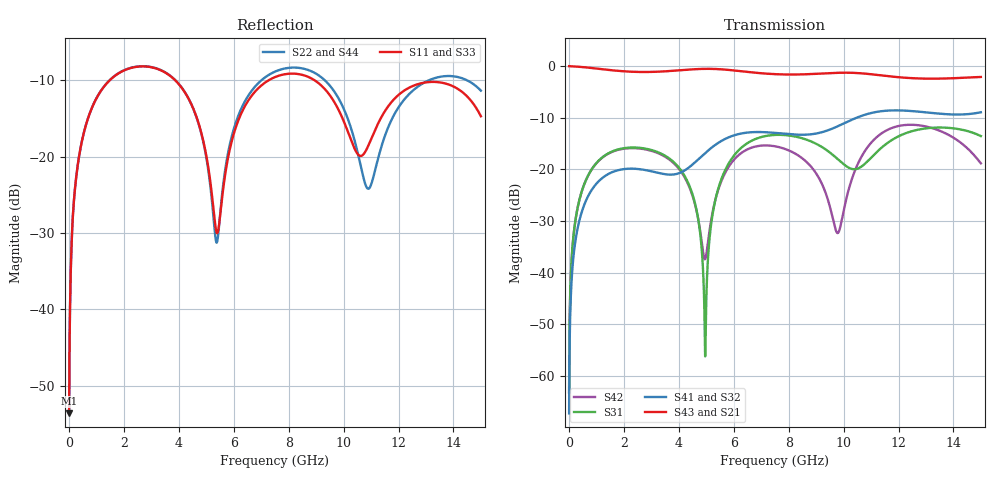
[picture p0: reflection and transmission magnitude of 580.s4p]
! Created with skrf 1.8.0 (http://scikit-rf.org).
# GHz S RI R 50.0
!freq ReS11 ImS11 ReS12 ImS12 ReS13 ImS13
! ReS14 ImS14
! ReS21 ImS21 ReS22 ImS22 ReS23 ImS23
! ReS24 ImS24
! ReS31 ImS31 ReS32 ImS32 ReS33 ImS33
! ReS34 ImS34
! ReS41 ImS41 ReS42 ImS42 ReS43 ImS43
! ReS44 ImS44
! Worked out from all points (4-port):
!   2499 points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, 5 MHz to 15 GHz, reference 50 ohm
!   strongest paths, dB at 5 MHz, 3.476 GHz, 7.19 GHz, 11.1 GHz, 15 GHz:
!     S43: 0.0, -1.0, -1.5, -1.6, -2.1
!     S21: 0.0, -1.0, -1.5, -1.6, -2.1
!     S41: -67.3, -20.9, -12.8, -9.0, -9.0
!     S32: -67.3, -21.0, -12.8, -9.0, -9.0
!     S31: -63.2, -17.3, -13.5, -17.2, -13.6
!     S42: -63.2, -17.5, -15.4, -14.3, -18.8
!   lowest |S11| = -53.6 dB at 5 MHz (marker M1), VSWR 1.00, Z = 50.2 + j0.127 ohm
!   |S11| at or under -10 dB: start of sweep to 1.479 GHz; 3.872 GHz to 7.265 GHz (3.393 GHz wide, 60.9 % of centre); 8.95 GHz to end of sweep
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0.005  0.00166 0.00126  0.9983 -0.00324  8.46e-05 0.000684  -8.2e-05 -0.000425
       0.9983 -0.00324  0.00166 0.00126  -8.2e-05 -0.000425  8.45e-05 0.000684
       8.46e-05 0.000684  -8.2e-05 -0.000425  0.00166 0.00126  0.9983 -0.00324
       -8.2e-05 -0.000425  8.45e-05 0.000684  0.9983 -0.00324  0.00166 0.00126
0.3126303  0.0247 0.0829  0.9662 -0.2015  0.0119 0.0405  -0.0097 -0.0249
           0.9662 -0.2015  0.0247 0.0829  -0.00969 -0.0249  0.0115 0.0406
           0.0119 0.0405  -0.00969 -0.0249  0.0247 0.0829  0.9662 -0.2015
           -0.0097 -0.0249  0.0115 0.0406  0.9662 -0.2015  0.0247 0.0829
1.519383  0.2671 0.1784  0.5531 -0.7268  0.1331 0.0619  -0.0923 -0.00671
          0.5531 -0.7268  0.2685 0.1775  -0.0922 -0.00684  0.1294 0.0669
          0.1331 0.0619  -0.0922 -0.00684  0.2672 0.1784  0.5532 -0.7268
          -0.0923 -0.00671  0.1294 0.0669  0.5532 -0.7268  0.2684 0.1775
4.958316  0.055 -0.097  -0.8878 -0.3098  -0.00149 -0.000409  -0.0421 0.1374
          -0.8878 -0.3098  0.0498 -0.0971  -0.0442 0.1367  -0.0134 -0.00184
          -0.00149 -0.000409  -0.0442 0.1367  0.0538 -0.096  -0.888 -0.3097
          -0.0421 0.1374  -0.0134 -0.00184  -0.888 -0.3097  0.0501 -0.0956
6.246353  0.1242 0.1403  -0.8046 0.3889  0.1326 0.088  0.1272 0.1815
          -0.8046 0.3889  0.1329 0.1511  0.1245 0.183  0.0837 0.1147
          0.1326 0.088  0.1245 0.183  0.1241 0.1422  -0.8045 0.3887
          0.1272 0.1815  0.0837 0.1147  -0.8045 0.3887  0.134 0.1513
10.75448  0.104 0.017  0.8333 0.1493  -0.0665 0.0899  0.0502 -0.3327
          0.8333 0.1493  0.0588 -0.037  0.0578 -0.3306  0.0448 0.1404
          -0.0665 0.0899  0.0578 -0.3306  0.1069 0.0225  0.8331 0.1504
          0.0502 -0.3327  0.0448 0.1404  0.8331 0.1504  0.0538 -0.035
15  0.1517 -0.1044  -0.421 -0.6628  -0.00621 -0.2098  -0.2725 0.2304
    -0.421 -0.6628  0.2073 -0.1745  -0.2821 0.2151  0.1055 -0.0439
    -0.00621 -0.2098  -0.2821 0.2151  0.1522 -0.1148  -0.4144 -0.6663
    -0.2725 0.2304  0.1055 -0.0439  -0.4144 -0.6663  0.2126 -0.1679
